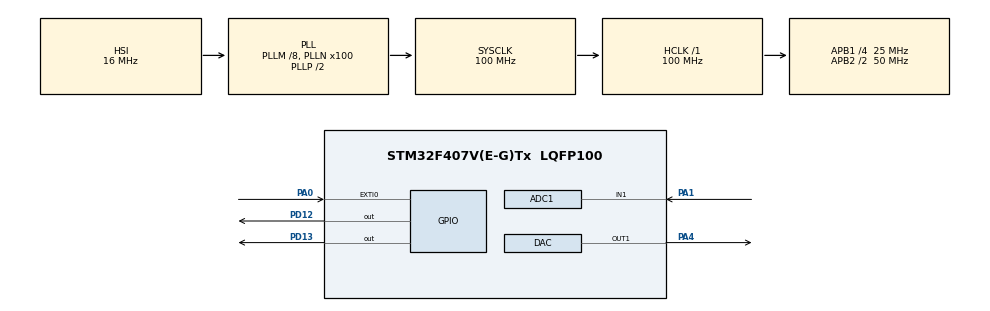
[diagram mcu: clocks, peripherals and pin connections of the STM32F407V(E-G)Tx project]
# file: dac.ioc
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ADC1.Channel-0\#ChannelRegularConversion=ADC_CHANNEL_1
ADC1.ContinuousConvMode=DISABLE
ADC1.DMAContinuousRequests=ENABLE
ADC1.EnableAnalogWatchDog=false
ADC1.ExternalTrigConv=ADC_EXTERNALTRIGCONV_T3_TRGO
ADC1.NbrOfConversionFlag=1
ADC1.Rank-0\#ChannelRegularConversion=1
ADC1.SamplingTime-0\#ChannelRegularConversion=ADC_SAMPLETIME_3CYCLES
ADC1.master=1
DAC.DAC_Trigger=DAC_TRIGGER_T6_TRGO
DAC.NoiseAmplitude=DAC_LFSRUNMASK_BITS5_0
DAC.WaveGeneration=NoiseWaveGeneration
Dma.ADC1.0.Direction=DMA_PERIPH_TO_MEMORY
Dma.ADC1.0.FIFOMode=DMA_FIFOMODE_DISABLE
Dma.ADC1.0.Instance=DMA2_Stream0
Dma.ADC1.0.MemDataAlignment=DMA_MDATAALIGN_HALFWORD
Dma.ADC1.0.MemInc=DMA_MINC_ENABLE
Dma.ADC1.0.Mode=DMA_NORMAL
Dma.ADC1.0.PeriphDataAlignment=DMA_PDATAALIGN_HALFWORD
Dma.ADC1.0.PeriphInc=DMA_PINC_DISABLE
Dma.ADC1.0.Priority=DMA_PRIORITY_LOW
Dma.DAC1.1.Direction=DMA_MEMORY_TO_PERIPH
Dma.DAC1.1.FIFOMode=DMA_FIFOMODE_DISABLE
Dma.DAC1.1.Instance=DMA1_Stream5
Dma.DAC1.1.MemDataAlignment=DMA_MDATAALIGN_HALFWORD
Dma.DAC1.1.MemInc=DMA_MINC_ENABLE
Dma.DAC1.1.Mode=DMA_NORMAL
Dma.DAC1.1.PeriphDataAlignment=DMA_PDATAALIGN_HALFWORD
Dma.DAC1.1.PeriphInc=DMA_PINC_DISABLE
Dma.DAC1.1.Priority=DMA_PRIORITY_LOW
Dma.Request0=ADC1
Dma.Request1=DAC1
FREERTOS.Tasks01=defaultTask,0,128,StartDefaultTask,Default,NULL,Dynamic,NULL,NULL
Mcu.Family=STM32F4
Mcu.Name=STM32F407V(E-G)Tx
Mcu.Package=LQFP100
NVIC.ADC_IRQn=true\:5\:0\:false\:false\:true\:true\:true\:true
NVIC.DMA1_Stream5_IRQn=true\:5\:0\:false\:false\:true\:true\:false\:true
NVIC.DMA2_Stream0_IRQn=true\:5\:0\:false\:false\:true\:true\:false\:true
NVIC.EXTI0_IRQn=true\:5\:0\:false\:false\:true\:true\:true\:true
NVIC.PriorityGroup=NVIC_PRIORITYGROUP_4
NVIC.TIM3_IRQn=true\:5\:0\:false\:false\:true\:true\:true\:true
NVIC.TIM4_IRQn=true\:15\:0\:false\:false\:true\:false\:false\:true
NVIC.TIM6_DAC_IRQn=true\:5\:0\:false\:false\:true\:true\:true\:true
NVIC.TimeBase=TIM4_IRQn
NVIC.TimeBaseIP=TIM4
PA0-WKUP.Signal=GPXTI0
PA1.Signal=ADCx_IN1
PA4.Signal=COMP_DAC1_group
PD12.Signal=GPIO_Output
PD13.Signal=GPIO_Output
ProjectManager.HeapSize=0x200
ProjectManager.StackSize=0x400
ProjectManager.TargetToolchain=STM32CubeIDE
RCC.48MHZClocksFreq_Value=50000000
RCC.AHBFreq_Value=100000000
RCC.APB1CLKDivider=RCC_HCLK_DIV4
RCC.APB1Freq_Value=25000000
RCC.APB1TimFreq_Value=50000000
RCC.APB2CLKDivider=RCC_HCLK_DIV2
RCC.APB2Freq_Value=50000000
RCC.APB2TimFreq_Value=100000000
RCC.CortexFreq_Value=100000000
RCC.HCLKFreq_Value=100000000
RCC.HSE_VALUE=25000000
RCC.HSI_VALUE=16000000
RCC.LSE_VALUE=32768
RCC.PLLM=8
RCC.PLLN=100
RCC.SYSCLKFreq_VALUE=100000000
RCC.SYSCLKSource=RCC_SYSCLKSOURCE_PLLCLK
RCC.VCOOutputFreq_Value=200000000
SH.ADCx_IN1.0=ADC1_IN1,IN1
SH.COMP_DAC1_group.0=DAC_OUT1,DAC_OUT1
TIM3.Period=1000
TIM3.Prescaler=16000
TIM3.TIM_MasterOutputTrigger=TIM_TRGO_UPDATE
TIM6.AutoReloadPreload=TIM_AUTORELOAD_PRELOAD_ENABLE
TIM6.Period=1000
TIM6.Prescaler=16000
TIM6.TIM_MasterOutputTrigger=TIM_TRGO_UPDATE
VP_FREERTOS_VS_CMSIS_V1.Mode=CMSIS_V1
VP_SYS_VS_tim4.Mode=TIM4
VP_TIM3_VS_ClockSourceINT.Mode=Internal
VP_TIM6_VS_ClockSourceINT.Mode=Enable_Timer
board=custom

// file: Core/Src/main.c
/* USER CODE BEGIN Header */
/**
  ******************************************************************************
  * @file           : main.c
  * @brief          : Main program body
  ******************************************************************************
  * @attention
  *
  * <h2><center>&copy; Copyright (c) 2021 STMicroelectronics.
  * All rights reserved.</center></h2>
  *
  * This software component is licensed by ST under BSD 3-Clause license,
  * the "License"; You may not use this file except in compliance with the
  * License. You may obtain a copy of the License at:
  *                        opensource.org/licenses/BSD-3-Clause
  *
  ******************************************************************************
  */
/* USER CODE END Header */
#include "main.h"
#include "cmsis_os.h"
#include "arm_math.h"

typedef enum {SIN_WAVE,
              TRIANGLE_WAVE,
              SQUARE_WAVE}  Signal_Type;

Signal_Type SignalType;

ADC_HandleTypeDef hadc1;
DMA_HandleTypeDef hdma_adc1;

DAC_HandleTypeDef hdac;
DMA_HandleTypeDef hdma_dac1;

TIM_HandleTypeDef htim3;
TIM_HandleTypeDef htim6;

osThreadId defaultTaskHandle;

void SystemClock_Config(void);
static void MX_GPIO_Init(void);
static void MX_DMA_Init(void);
static void MX_ADC1_Init(void);
static void MX_DAC_Init(void);
static void MX_TIM3_Init(void);
static void MX_TIM6_Init(void);
void StartDefaultTask(void const * argument);

/* USER CODE BEGIN PFP */
uint16_t sinewave[60] = {
0x07ff,0x08cb,0x0994,0x0a5a,0x0b18,0x0bce,0x0c79,0x0d18,0x0da8,0x0e29,0x0e98,0x0ef4,0x0f3e,0x0f72,0x0f92,0x0f9d,
0x0f92,0x0f72,0x0f3e,0x0ef4,0x0e98,0x0e29,0x0da8,0x0d18,0x0c79,0x0bce,0x0b18,0x0a5a,0x0994,0x08cb,0x07ff,0x0733,
0x066a,0x05a4,0x04e6,0x0430,0x0385,0x02e6,0x0256,0x01d5,0x0166,0x010a,0x00c0,0x008c,0x006c,0x0061,0x006c,0x008c,
0x00c0,0x010a,0x0166,0x01d5,0x0256,0x02e6,0x0385,0x0430,0x04e6,0x05a4,0x066a,0x0733};

/* USER CODE END PFP */
uint16_t dac_sin_freq;
/* USER CODE BEGIN 0 */

/* FFT settings */

#define FFT_SIZE                 1024         /* FFT size is always the same size as we have samples, so 180 in our case */
#define ADC_SAMPLE                FFT_SIZE*2
#define SAMPLES                  FFT_SIZE*2             /* 1800 real party and 1800 imaginary parts */
 /* Global variables */
float32_t Input[SAMPLES*2];
float32_t Output[FFT_SIZE];
uint32_t  uOutput[FFT_SIZE];

uint16_t ConvData[ADC_SAMPLE];

/* Global variables */
uint8_t conv_done,re_start=0;
/* USER CODE END 0 */
uint16_t Fft_freq;

/* Global variables */

 arm_cfft_radix4_instance_f32 S;    /* ARM CFFT module */
 float32_t maxValue;                /* Max FFT value is stored here */
 uint32_t maxIndex;                /* Index in Output array where max value is */
QueueHandle_t xQueueFFT;

/* USER CODE END 0 */
void FFT_Task(void *p);
int main(void)
{
  /* USER CODE BEGIN 1 */
    uint16_t i;

  /*Select signal type*/
  SignalType=SIN_WAVE;
  //SignalType=TRIANGLE_WAVE;
  //SignalType=SQUARE_WAVE;

  /* MCU Configuration--------------------------------------------------------*/

  /* Reset of all peripherals, Initializes the Flash interface and the Systick. */
  HAL_Init();

  /* Configure the system clock */
  SystemClock_Config();

  /* Initialize all configured peripherals */
  MX_GPIO_Init();
  MX_DMA_Init();
  MX_ADC1_Init();
  if(SignalType!=SQUARE_WAVE)
  {
  MX_DAC_Init();
  }
  /*TIM3*/
  MX_TIM3_Init();

  /*DAC TIM6 */
  MX_TIM6_Init();

  /* USER CODE BEGIN 2 */
    // 60 sample each sample take 400ùs
  dac_sin_freq= 1000000 / (60 * (TIM6->ARR+1U));

  /*FFT FReq step */
  Fft_freq = 1000000 / ((TIM3->ARR+1U)*1024);

     /*Start TIM3*/
   if (HAL_TIM_Base_Start(&htim3) != HAL_OK)
  {
    /* Counter enable error */
    Error_Handler();
  }

   if(SignalType!=SQUARE_WAVE)
    {
     /*Start TIM6*/
     if (HAL_TIM_Base_Start(&htim6) != HAL_OK)
     {
      /* Counter enable error */
       Error_Handler();
      }
    }
    else
    {
    HAL_TIM_Base_Start_IT(&htim6);
     }

  /* USER CODE END 2 */
  /*Create Queu used for Cycle in Run mode */
  xQueueFFT = xQueueCreate(6U, sizeof( uint8_t ) );

  /* Create the thread(s) */
  /* definition and creation of defaultTask */
  osThreadDef(defaultTask, StartDefaultTask, osPriorityNormal, 0, 128);
  defaultTaskHandle = osThreadCreate(osThread(defaultTask), NULL);

  xTaskCreate(FFT_Task, "FFT", 500U , NULL,  (tskIDLE_PRIORITY+3U),NULL );

  /* Start scheduler */
  osKernelStart();

  /* We should never get here as control is now taken by the scheduler */
  /* Infinite loop */
  while (1)
  {

  }
}

/* USER CODE BEGIN 4 */
void FFT_Task(void *p)
{
  uint8_t Step;

  while(1)
  {

    if (xQueueReceive( xQueueFFT, &( Step ), (TickType_t)80U)==pdPASS)
    {

      if (Step==1U) /*first Half Buffer*/
      {
          uint16_t j=0;
          for (uint16_t i=0;(i<ADC_SAMPLE/2) ; i++)
          {
            Input[j]=(float32_t)  ((float32_t)ConvData[i] - (float32_t)(4095.0) ) /(float32_t)(4095.0);
            Input[j+1]=(float32_t)0;
            j=j+2;
          }
      }
      else  /*Second HalfBuffer*/
      {

        uint16_t j=0;
          for (uint16_t i=ADC_SAMPLE/2;(i<ADC_SAMPLE) ; i++)
          {
            Input[j]=(float32_t)  ((float32_t)ConvData[i] - (float32_t)(4095.0) ) /(float32_t)(4095.0);
            Input[j+1]=(float32_t)0;
            j=j+2;
          }

      }

       /* Process the data through the CFFT/CIFFT module */
        arm_cfft_radix4_f32(&S, Input);

        /* Process the data through the Complex Magniture Module for calculating the magnitude at each bin */
        arm_cmplx_mag_f32(Input, Output, FFT_SIZE);

        /* Calculates maxValue and returns corresponding value */
        arm_max_f32(Output, FFT_SIZE, &maxValue, &maxIndex);

        for (uint16_t i=0;i<FFT_SIZE;i++)
        uOutput[i]=Output[i];

        /*Toggle PD12 Led */
        GPIOD->ODR ^=1<<12;

        HAL_ADC_Start_DMA(&hadc1,(uint32_t*)ConvData,ADC_SAMPLE);

   }

  }

}
/* USER CODE END 4 */

void StartDefaultTask(void const * argument)
{
  /* USER CODE BEGIN 5 */
 if(SignalType!=SQUARE_WAVE)
  {
  if(SignalType==SIN_WAVE)
  {
   if (HAL_DAC_Start_DMA(&hdac, DAC_CHANNEL_1,  (uint32_t *)sinewave,60, DAC_ALIGN_12B_R) != HAL_OK)
    {
      Error_Handler();
    }
  }
  else
  {
    HAL_DAC_Start(&hdac, DAC_CHANNEL_1);
  }
  }

    /* Initialize the CFFT/CIFFT module, intFlag = 0, doBitReverse = 1 */
    arm_cfft_radix4_init_f32(&S, FFT_SIZE, 0, 1);

    HAL_ADC_Start_DMA(&hadc1,(uint32_t*)ConvData,ADC_SAMPLE);

  /* Infinite loop */
  for(;;)
  {

    osDelay(1);
  }
  /* USER CODE END 5 */
}

void HAL_ADC_ConvCpltCallback(ADC_HandleTypeDef* hadc)
{
 conv_done=1;

   uint8_t val=2;
  BaseType_t xHigherPriorityTaskWoken=pdFALSE;

  /*Process First Buffer */
  (void)xQueueSendFromISR(xQueueFFT,(void* )&val,&xHigherPriorityTaskWoken);
  /*Force Contex Switch ...*/
  portYIELD_FROM_ISR(xHigherPriorityTaskWoken);

 }

/**
  * @brief  Regular conversion half DMA transfer callback in non blocking mode
  * @param  hadc pointer to a ADC_HandleTypeDef structure that contains
  *         the configuration information for the specified ADC.
  * @retval None
  */
void HAL_ADC_ConvHalfCpltCallback(ADC_HandleTypeDef* hadc)
{

  uint8_t val=1;
  BaseType_t xHigherPriorityTaskWoken=pdFALSE;

  /*Process First Buffer */
  (void)xQueueSendFromISR(xQueueFFT,(void* )&val,&xHigherPriorityTaskWoken);
  /*Force Contex Switch ...*/
  portYIELD_FROM_ISR(xHigherPriorityTaskWoken);

}

void SystemClock_Config(void)
{
  RCC_OscInitTypeDef RCC_OscInitStruct = {0};
  RCC_ClkInitTypeDef RCC_ClkInitStruct = {0};

  /** Configure the main internal regulator output voltage
  */
  __HAL_RCC_PWR_CLK_ENABLE();
  __HAL_PWR_VOLTAGESCALING_CONFIG(PWR_REGULATOR_VOLTAGE_SCALE1);
  /** Initializes the RCC Oscillators according to the specified parameters
  * in the RCC_OscInitTypeDef structure.
  */
  RCC_OscInitStruct.OscillatorType = RCC_OSCILLATORTYPE_HSI;
  RCC_OscInitStruct.HSIState = RCC_HSI_ON;
  RCC_OscInitStruct.HSICalibrationValue = RCC_HSICALIBRATION_DEFAULT;
  RCC_OscInitStruct.PLL.PLLState = RCC_PLL_ON;
  RCC_OscInitStruct.PLL.PLLSource = RCC_PLLSOURCE_HSI;
  RCC_OscInitStruct.PLL.PLLM = 8;
  RCC_OscInitStruct.PLL.PLLN = 100;
  RCC_OscInitStruct.PLL.PLLP = RCC_PLLP_DIV2;
  RCC_OscInitStruct.PLL.PLLQ = 4;
  if (HAL_RCC_OscConfig(&RCC_OscInitStruct) != HAL_OK)
  {
    Error_Handler();
  }
  /** Initializes the CPU, AHB and APB buses clocks
  */
  RCC_ClkInitStruct.ClockType = RCC_CLOCKTYPE_HCLK|RCC_CLOCKTYPE_SYSCLK
                              |RCC_CLOCKTYPE_PCLK1|RCC_CLOCKTYPE_PCLK2;
  RCC_ClkInitStruct.SYSCLKSource = RCC_SYSCLKSOURCE_PLLCLK;
  RCC_ClkInitStruct.AHBCLKDivider = RCC_SYSCLK_DIV1;
  RCC_ClkInitStruct.APB1CLKDivider = RCC_HCLK_DIV4;
  RCC_ClkInitStruct.APB2CLKDivider = RCC_HCLK_DIV2;

  if (HAL_RCC_ClockConfig(&RCC_ClkInitStruct, FLASH_LATENCY_3) != HAL_OK)
  {
    Error_Handler();
  }
}

static void MX_ADC1_Init(void)
{

  ADC_ChannelConfTypeDef sConfig = {0};

  /** Configure the global features of the ADC (Clock, Resolution, Data Alignment and number of conversion)
  */
  hadc1.Instance = ADC1;
  hadc1.Init.ClockPrescaler = ADC_CLOCK_SYNC_PCLK_DIV2;
  hadc1.Init.Resolution = ADC_RESOLUTION_12B;
  hadc1.Init.ScanConvMode = DISABLE;
  hadc1.Init.ContinuousConvMode = DISABLE; ////bad config;
  hadc1.Init.DiscontinuousConvMode = DISABLE;
  hadc1.Init.ExternalTrigConvEdge = ADC_EXTERNALTRIGCONVEDGE_RISING;
  hadc1.Init.ExternalTrigConv = ADC_EXTERNALTRIGCONV_T3_TRGO;
  hadc1.Init.DataAlign = ADC_DATAALIGN_RIGHT;
  hadc1.Init.NbrOfConversion = 1;
  hadc1.Init.DMAContinuousRequests = ENABLE;
  hadc1.Init.EOCSelection = ADC_EOC_SINGLE_CONV;
  if (HAL_ADC_Init(&hadc1) != HAL_OK)
  {
    Error_Handler();
  }
  /** Configure for the selected ADC regular channel its corresponding rank in the sequencer and its sample time.
  */
  sConfig.Channel = ADC_CHANNEL_1;
  sConfig.Rank = 1;
  sConfig.SamplingTime = ADC_SAMPLETIME_3CYCLES;
  if (HAL_ADC_ConfigChannel(&hadc1, &sConfig) != HAL_OK)
  {
    Error_Handler();
  }

}

static void MX_DAC_Init(void)
{

  DAC_ChannelConfTypeDef sConfig = {0};

  /** DAC Initialization
  */
  hdac.Instance = DAC;
  if (HAL_DAC_Init(&hdac) != HAL_OK)
  {
    Error_Handler();
  }
  /** DAC channel OUT1 config
  */
  sConfig.DAC_Trigger = DAC_TRIGGER_T6_TRGO;
  sConfig.DAC_OutputBuffer = DAC_OUTPUTBUFFER_ENABLE;
  if (HAL_DAC_ConfigChannel(&hdac, &sConfig, DAC_CHANNEL_1) != HAL_OK)
  {
    Error_Handler();
  }
  /** Configure Noise wave generation on DAC OUT1
  */
 if(SignalType==TRIANGLE_WAVE)
{
  HAL_DACEx_TriangleWaveGenerate(&hdac, DAC_CHANNEL_1, DAC_TRIANGLEAMPLITUDE_4095);

}

}

static void MX_TIM3_Init(void)
{

  TIM_ClockConfigTypeDef sClockSourceConfig = {0};
  TIM_MasterConfigTypeDef sMasterConfig = {0};

  htim3.Instance = TIM3;
  htim3.Init.Prescaler = 50; //50us
  htim3.Init.CounterMode = TIM_COUNTERMODE_UP;
  htim3.Init.Period = 65;//65µS  ==> FADC=15384hz == > fft_freq=15384/1024=15Hz   ==> bandwidth 15hz*512=7.68khz

  htim3.Init.ClockDivision = TIM_CLOCKDIVISION_DIV1;
  htim3.Init.AutoReloadPreload = TIM_AUTORELOAD_PRELOAD_ENABLE;
  if (HAL_TIM_Base_Init(&htim3) != HAL_OK)
  {
    Error_Handler();
  }
  sClockSourceConfig.ClockSource = TIM_CLOCKSOURCE_INTERNAL;
  if (HAL_TIM_ConfigClockSource(&htim3, &sClockSourceConfig) != HAL_OK)
  {
    Error_Handler();
  }
  sMasterConfig.MasterOutputTrigger = TIM_TRGO_UPDATE;
  sMasterConfig.MasterSlaveMode = TIM_MASTERSLAVEMODE_DISABLE;
  if (HAL_TIMEx_MasterConfigSynchronization(&htim3, &sMasterConfig) != HAL_OK)
  {
    Error_Handler();
  }

}

static void MX_TIM6_Init(void)
{

  TIM_MasterConfigTypeDef sMasterConfig = {0};

  htim6.Instance = TIM6;

  if(SignalType!=SQUARE_WAVE)
   {
     if(SignalType==TRIANGLE_WAVE)
     {
         htim6.Init.Prescaler = 1; //1us
     }
     else
     {
       htim6.Init.Prescaler = 50; //1us
     }
       htim6.Init.CounterMode = TIM_COUNTERMODE_UP;
      if(SignalType==TRIANGLE_WAVE)
     {
       htim6.Init.Period = 10; //42*60µs = 2.5ms == > freq ~=400hz
     }
     else
     {
       //htim6.Init.Period = 41; //42*60µs = 2.5ms == > freq ~=400hz
       htim6.Init.Period = 58; //58*60µs = 3.58ms == > freq ~=285hz
     }
  }
  else
  {
      htim6.Init.Prescaler = 50; //1us
      htim6.Init.Period = 3590; //3.59ms
  }

  htim6.Init.AutoReloadPreload = TIM_AUTORELOAD_PRELOAD_ENABLE;
  if (HAL_TIM_Base_Init(&htim6) != HAL_OK)
  {
    Error_Handler();
  }
  sMasterConfig.MasterOutputTrigger = TIM_TRGO_UPDATE;
  sMasterConfig.MasterSlaveMode = TIM_MASTERSLAVEMODE_DISABLE;
  if (HAL_TIMEx_MasterConfigSynchronization(&htim6, &sMasterConfig) != HAL_OK)
  {
    Error_Handler();
  }

}

static void MX_DMA_Init(void)
{

  /* DMA controller clock enable */
  __HAL_RCC_DMA2_CLK_ENABLE();
  __HAL_RCC_DMA1_CLK_ENABLE();

  /* DMA interrupt init */
  /* DMA1_Stream5_IRQn interrupt configuration */
  HAL_NVIC_SetPriority(DMA1_Stream5_IRQn, 5, 0);
  HAL_NVIC_EnableIRQ(DMA1_Stream5_IRQn);
  /* DMA2_Stream0_IRQn interrupt configuration */
  HAL_NVIC_SetPriority(DMA2_Stream0_IRQn, 5, 0);
  HAL_NVIC_EnableIRQ(DMA2_Stream0_IRQn);

}

static void MX_GPIO_Init(void)
{
  GPIO_InitTypeDef GPIO_InitStruct = {0};

  /* GPIO Ports Clock Enable */
  __HAL_RCC_GPIOA_CLK_ENABLE();
  __HAL_RCC_GPIOD_CLK_ENABLE();

  /*Configure GPIO pin Output Level */
  HAL_GPIO_WritePin(GPIOD, GPIO_PIN_12|GPIO_PIN_13, GPIO_PIN_RESET);

  /*Configure GPIO pin : PA0 */
  GPIO_InitStruct.Pin = GPIO_PIN_0;
  GPIO_InitStruct.Mode = GPIO_MODE_IT_RISING;
  GPIO_InitStruct.Pull = GPIO_NOPULL;
  HAL_GPIO_Init(GPIOA, &GPIO_InitStruct);

  /*Configure GPIO pins : PD12 PD13 */
  GPIO_InitStruct.Pin = GPIO_PIN_12|GPIO_PIN_13;
  GPIO_InitStruct.Mode = GPIO_MODE_OUTPUT_PP;
  GPIO_InitStruct.Pull = GPIO_NOPULL;
  GPIO_InitStruct.Speed = GPIO_SPEED_FREQ_LOW;
  HAL_GPIO_Init(GPIOD, &GPIO_InitStruct);

   if(SignalType==SQUARE_WAVE)
  {
  /*Configure GPIO pin : PA0 */
  GPIO_InitStruct.Pin = GPIO_PIN_4;
  GPIO_InitStruct.Mode = GPIO_MODE_OUTPUT_PP;
  GPIO_InitStruct.Pull = GPIO_NOPULL;
  GPIO_InitStruct.Speed = GPIO_SPEED_FREQ_LOW;
  HAL_GPIO_Init(GPIOA, &GPIO_InitStruct);

  }

  /* EXTI interrupt init*/
  HAL_NVIC_SetPriority(EXTI0_IRQn, 5, 0);
  HAL_NVIC_EnableIRQ(EXTI0_IRQn);

}

void HAL_TIM_PeriodElapsedCallback(TIM_HandleTypeDef *htim)
{
  if (htim->Instance == TIM4) {
    HAL_IncTick();
  }

 if (htim->Instance == TIM6)
 {
if(SignalType==SQUARE_WAVE)
{
  GPIOA->ODR ^= 0x10;
}
 }
  /* USER CODE END Callback 1 */
}

void Error_Handler(void)
{
  __disable_irq();
  while (1)
  {
  }
}

/************************ (C) COPYRIGHT STMicroelectronics *****END OF FILE****/
